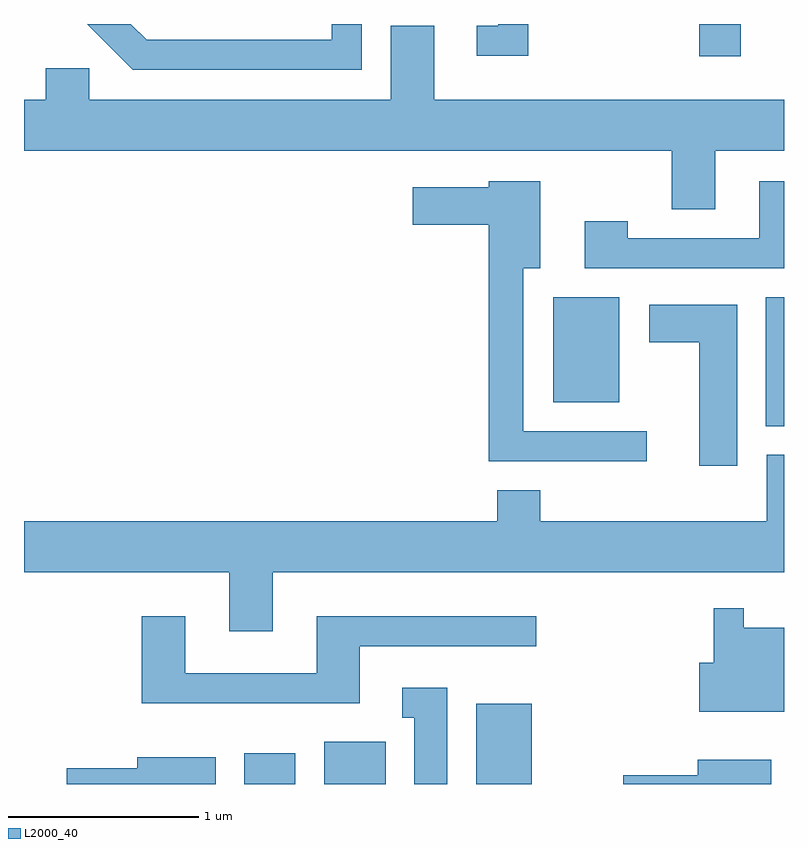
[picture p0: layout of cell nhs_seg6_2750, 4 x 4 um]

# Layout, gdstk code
import gdstk
lib = gdstk.Library(unit=1e-6, precision=1e-09)
def R(c, l, rs):  # rectangles x0, y0, x1, y1
    for r in rs: c.add(gdstk.rectangle(r[:2], r[2:], *l))
def P(c, l, *ps):  # polygons
    for p in ps: c.add(gdstk.Polygon(p, *l))
L2000_40 = (2000, 40)

nhs_seg6_2750 = lib.new_cell('nhs_seg6_2750')
R(nhs_seg6_2750, L2000_40, [(268.771,1642.162,269.039,1642.324), (269.191,1642.162,269.514,1642.384), (269.991,1642.162,270.284,1642.584), (271.516,1644.046,271.611,1644.724), (270.396,1644.171,270.744,1644.724), (271.166,1645.991,271.384,1646.162)])
P(nhs_seg6_2750, L2000_40, [(270.264,1646.162),(270.106,1646.162),(270.106,1646.154),(269.993,1646.154),(269.993,1645.996),(270.264,1645.996)],
  [(269.389,1646.162),(269.231,1646.162),(269.231,1646.079),(268.257,1646.079),(268.174,1646.162),(267.943,1646.162),(268.184,1645.921),(269.389,1645.921)],
  [(271.249,1645.496),(271.611,1645.496),(271.611,1645.764),(269.769,1645.764),(269.769,1646.154),(269.541,1646.154),(269.541,1645.764),(267.954,1645.764),(267.954,1645.929),(267.726,1645.929),(267.726,1645.764),(267.611,1645.764),(267.611,1645.496),(271.021,1645.496),(271.021,1645.186),(271.249,1645.186)],
  [(270.888,1644.019),(270.239,1644.019),(270.239,1644.876),(270.329,1644.876),(270.329,1645.334),(270.056,1645.334),(270.056,1645.304),(269.656,1645.304),(269.656,1645.106),(270.056,1645.106),(270.056,1643.861),(270.888,1643.861)],
  [(271.611,1645.334),(271.481,1645.334),(271.481,1645.034),(270.789,1645.034),(270.789,1645.124),(270.561,1645.124),(270.561,1644.876),(271.611,1644.876)],
  [(271.364,1644.684),(270.901,1644.684),(270.901,1644.486),(271.166,1644.486),(271.166,1643.836),(271.364,1643.836)],
  [(268.919,1643.276),(271.611,1643.276),(271.611,1643.894),(271.521,1643.894),(271.521,1643.544),(270.329,1643.544),(270.329,1643.709),(270.101,1643.709),(270.101,1643.544),(267.611,1643.544),(267.611,1643.276),(268.691,1643.276),(268.691,1642.966),(268.919,1642.966)],
  [(271.611,1642.984),(271.399,1642.984),(271.399,1643.088),(271.241,1643.088),(271.241,1642.799),(271.166,1642.799),(271.166,1642.541),(271.611,1642.541)],
  [(269.379,1642.886),(270.308,1642.886),(270.308,1643.044),(269.151,1643.044),(269.151,1642.744),(268.459,1642.744),(268.459,1643.044),(268.231,1643.044),(268.231,1642.586),(269.379,1642.586)],
  [(269.839,1642.669),(269.603,1642.669),(269.603,1642.511),(269.666,1642.511),(269.666,1642.162),(269.839,1642.162)],
  [(268.619,1642.304),(268.206,1642.304),(268.206,1642.244),(267.836,1642.244),(267.836,1642.162),(268.619,1642.162)],
  [(271.544,1642.289),(271.156,1642.289),(271.156,1642.209),(270.766,1642.209),(270.766,1642.162),(271.544,1642.162)])

lib.write_gds('nhs_seg6_2750.gds')
